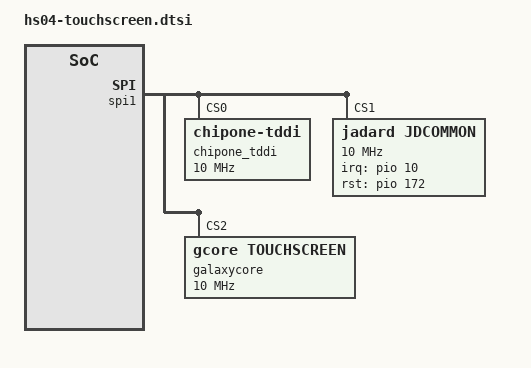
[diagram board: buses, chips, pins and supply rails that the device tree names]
&spi1 {
    status = "okay";
    #address-cells = <1>;
    #size-cells = <0>;
    /delete-property/mediatek,pad-select;
    mediatek,pad-select = <0>, <0>, <0>;
    cs-gpios = <0>, <0>, <0>;

    chipone_tddi@0 {
        compatible = "chipone-tddi";
        reg = <0>;
        status = "okay";
        spi-max-frequency = <10000000>;

        /* Charger detect */
        chipone,touch-charger-detect-enable;
        chipone,touch-charger-detect-type = "notify"; /* notify, poll */
        chipone,touch-charger-detect-psy-name = "mtk_charger_type";
        chipone,touch-charger-detect-psp = "POWER_SUPPLY_PROP_ONLINE";
        chipone,touch-charger-detect-psp-poll-interval = <1000>;

        /* Earjack detect */
        chipone,touch-earjack-detect-enable;
        /* MTK:  /sys/bus/platform/drivers/Accdet_Driver/state,
           Sprd: /sys/kernel/headset/state
           QCOM: None, and disable it */
        chipone,touch-earjack-state-filepath = "/sys/bus/platform/drivers/Accdet_Driver/state";
        chipone,touch-earjack-poll-interval = <1000>;

        /* selftest settings */
        chipone_hlt_hkc,test-reset-pin;
        //chipone_hlt_hkc,test-int-pin = N;
        chipone_hlt_hkc,test-rawdata;
        chipone_hlt_hkc,test-rawdata-frames = <1>;
        chipone_hlt_hkc,rawdata-min = <1535>;
        chipone_hlt_hkc,rawdata-max = <3561>;
        chipone_hlt_hkc,test-noise;
        chipone_hlt_hkc,test-noise-frames = <50>;
        chipone_hlt_hkc,noise-max = <65>;
        chipone_hlt_hkc,test-open;
        chipone_hlt_hkc,open-min = <2500>;
        chipone_hlt_hkc,test-short;
        chipone_hlt_hkc,short-min = <350>;
        chipone_hlt_hkc,test-compensate-cap;
        chipone_hlt_hkc,compensate-cap-min = <1>;
        chipone_hlt_hkc,compensate-cap-max = <126>;

        /*chipone_hr_hr*/
        chipone_hr_hr,test-reset-pin;
        //chipone_hr_hr,test-int-pin = N;
        chipone_hr_hr,test-rawdata;
        chipone_hr_hr,test-rawdata-frames = <1>;
        chipone_hr_hr,rawdata-min = <1419>;
        chipone_hr_hr,rawdata-max = <3261>;
        chipone_hr_hr,test-noise;
        chipone_hr_hr,test-noise-frames = <50>;
        chipone_hr_hr,noise-max = <65>;
        chipone_hr_hr,test-open;
        chipone_hr_hr,open-min = <2500>;
        chipone_hr_hr,test-short;
        chipone_hr_hr,short-min = <350>;
        chipone_hr_hr,test-compensate-cap;
        chipone_hr_hr,compensate-cap-min = <1>;
        chipone_hr_hr,compensate-cap-max = <126>;
    };

    jadard@1 {
        compatible = "jadard,jdcommon";
        reg = <1>;
        spi-max-frequency = <10000000>;
        interrupt-parent = <&pio>;
        interrupts = <10 0x2800>;
        jadard,panel-sense-nums = <18 32>;
        jadard,panel-coords = <0 720 0 1600>;
        jadard,panel-max-points = <10>;
        jadard,int-is-edge = <1>;
        jadard,irq-gpio = <&pio 10 0x2008>;
        jadard,rst-gpio = <&pio 172 0x00>;

    };

    /*hs03s_NM code for SR-AL5625-01-644 by fengzhigang at 20220414 start*/
    galaxycore@2 {
        compatible = "gcore,touchscreen";
        reg = <2>;
        status = "okay";
        spi-max-frequency = <10000000>;
    };
    /*hs03s_NM code for SR-AL5625-01-644 by fengzhigang at 20220414 end*/
};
